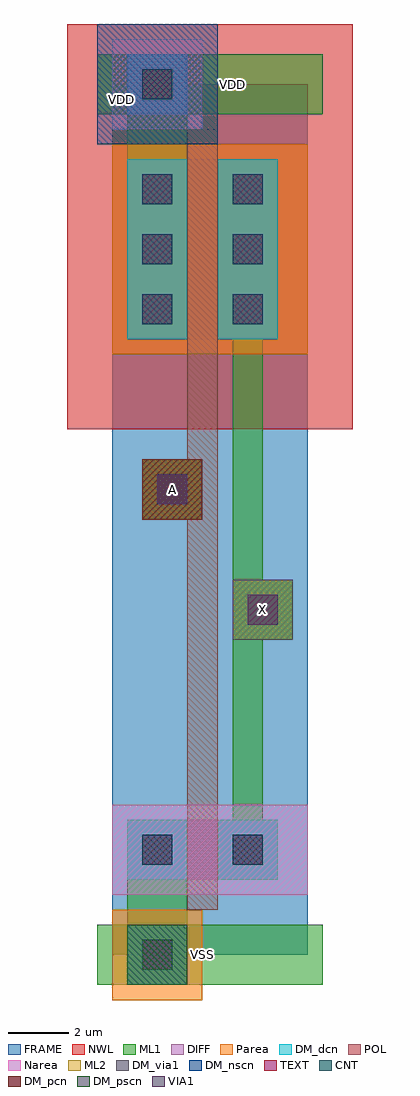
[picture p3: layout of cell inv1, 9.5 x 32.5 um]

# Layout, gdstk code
import gdstk
lib = gdstk.Library(unit=1e-6, precision=1e-09)
def R(c, l, rs):  # rectangles x0, y0, x1, y1
    for r in rs: c.add(gdstk.rectangle(r[:2], r[2:], *l))
NWL = (1, 0)
DIFF = (3, 0)
POL = (5, 0)
CNT = (7, 0)
ML1 = (8, 0)
VIA1 = (9, 0)
ML2 = (10, 0)
TEXT = (13, 0)
FRAME = (14, 0)
Parea = (18, 0)
Narea = (19, 0)
DM_dcn = (101, 0)
DM_pcn = (102, 0)
DM_nscn = (103, 0)
DM_pscn = (104, 0)
DM_via1 = (105, 0)

pcont = lib.new_cell('pcont')
R(pcont, POL, [(-1,-1,1,1)])
R(pcont, CNT, [(-0.5,-0.5,0.5,0.5)])
R(pcont, ML1, [(-1,-1,1,1)])
R(pcont, DM_pcn, [(-1,-1,1,1)])
pcont.add(gdstk.Label('pcont', (0,0), layer=13, texttype=0))

dcont = lib.new_cell('dcont')
R(dcont, DIFF, [(-1,-1,1,1)])
R(dcont, CNT, [(-0.5,-0.5,0.5,0.5)])
R(dcont, ML1, [(-1,-1,1,1)])
R(dcont, TEXT, [(-0.5,-0.5,0.5,0.5)])
R(dcont, DM_dcn, [(-1,-1,1,1)])
dcont.add(gdstk.Label('dcont', (0,0), layer=13, texttype=0))

nsubcont = lib.new_cell('nsubcont')
R(nsubcont, NWL, [(-2,-2,2,2)])
R(nsubcont, Narea, [(-1.5,-1.5,1.5,1.5)])
R(nsubcont, DM_nscn, [(-2,-2,2,2)])
nsubcont.add(gdstk.Reference(dcont, (0,0)))
nsubcont.add(gdstk.Label('NScont', (0,0), layer=13, texttype=0))

via = lib.new_cell('Via')
R(via, ML1, [(-1,-1,1,1)])
R(via, VIA1, [(-0.5,-0.5,0.5,0.5)])
R(via, ML2, [(-1,-1,1,1)])
R(via, TEXT, [(-0.5,-0.5,0.5,0.5)])
R(via, DM_via1, [(-1,-1,1,1)])
via.add(gdstk.Label('via', (0,0), layer=13, texttype=0))

psubcont = lib.new_cell('psubcont')
R(psubcont, Parea, [(-1.5,-1.5,1.5,1.5)])
R(psubcont, DM_pscn, [(-1,-1,1,1)])
psubcont.add(gdstk.Reference(dcont, (0,0)))
psubcont.add(gdstk.Label('PScon', (0,0), layer=13, texttype=0))

inv1 = lib.new_cell('inv1')
R(inv1, NWL, [(-1.5,17.5,8,31)])
R(inv1, DIFF, [(0.5,2.5,5.5,4.5), (0.5,20.5,5.5,26.5)])
R(inv1, ML1, [(-0.5,-1,7,1), (4,10.5,6,12.5), (1,14.5,3,16.5), (-0.5,28,7,30)])
R(inv1, ML2, [(4,10.5,6,12.5), (1,14.5,3,16.5)])
R(inv1, FRAME, [(0,0,6.5,29)])
R(inv1, Parea, [(0,20,6.5,27)])
R(inv1, Narea, [(0,2,6.5,5)])
R(inv1, DM_via1, [(4,10.5,6,12.5), (1,14.5,3,16.5)])
inv1.add(gdstk.FlexPath([(3,27),(3,2)], 1, ends="extended", simple_path=True, layer=5, datatype=0))  # POL
inv1.add(gdstk.FlexPath([(4.5,20.5),(4.5,3.8)], 1, ends="extended", simple_path=True, layer=8, datatype=0))  # ML1
inv1.add(gdstk.FlexPath([(4.5,22.3),(4.5,25.5)], 1.4, ends="extended", simple_path=True, layer=8, datatype=0))  # ML1
inv1.add(gdstk.FlexPath([(1.5,1),(1.5,3.5)], 2, ends="extended", simple_path=True, layer=8, datatype=0))  # ML1
inv1.add(gdstk.FlexPath([(1.5,21.5),(1.5,28.5)], 2, ends="extended", simple_path=True, layer=8, datatype=0))  # ML1
inv1.add(gdstk.Reference(pcont, (2,15.5)))
inv1.add(gdstk.Reference(dcont, (4.5,21.5)))
inv1.add(gdstk.Reference(dcont, (1.5,21.5)))
inv1.add(gdstk.Reference(nsubcont, (1.5,29)))
inv1.add(gdstk.Reference(via, (2,15.5)))
inv1.add(gdstk.Reference(dcont, (4.5,3.5)))
inv1.add(gdstk.Reference(dcont, (1.5,3.5)))
inv1.add(gdstk.Reference(dcont, (1.5,23.5)))
inv1.add(gdstk.Reference(psubcont, (1.5,0)))
inv1.add(gdstk.Reference(dcont, (4.5,25.5)))
inv1.add(gdstk.Reference(dcont, (1.5,25.5)))
inv1.add(gdstk.Reference(via, (5,11.5)))
inv1.add(gdstk.Reference(dcont, (4.5,23.5)))
inv1.add(gdstk.Label('VSS', (3,0), layer=8, texttype=0))
inv1.add(gdstk.Label('VDD', (0.3,28.5), layer=8, texttype=0))
inv1.add(gdstk.Label('VDD', (4,29), layer=8, texttype=0))
inv1.add(gdstk.Label('X', (5,11.5), layer=10, texttype=0))
inv1.add(gdstk.Label('A', (2,15.5), layer=10, texttype=0))
inv1.add(gdstk.Label('via', (5,11.5), layer=13, texttype=0))
inv1.add(gdstk.Label('via', (2,15.5), layer=13, texttype=0))

lib.write_gds('inv1.gds')
